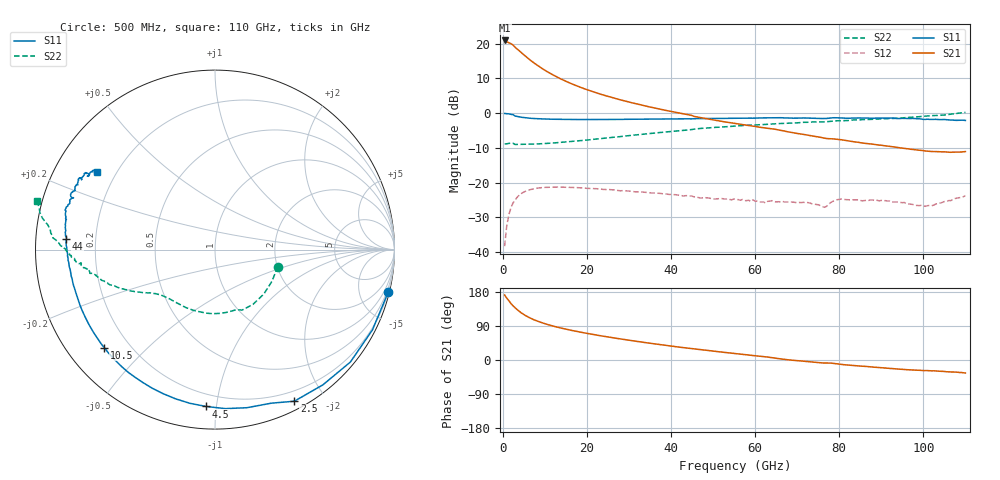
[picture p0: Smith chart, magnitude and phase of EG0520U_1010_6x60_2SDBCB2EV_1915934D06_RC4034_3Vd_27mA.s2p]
!File name = EG0520U_1010_6x60_2SDBCB2EV_1915934D06_RC4034_3Vd_27mA.s2p
!Base file name = EG0520U_1010_6x60_2SDBCB2EV_1915934D06_RC4034
!Date = 8/23/2019
!Time = 12:57 PM
!Test duration(min) = 0.15
!Test = S-Parameters
!MPTS version = 8.91.5
!State File = C:\Data\PNA\20190821205423\S-Parameters_2019-08-23.sta
!Cal File =
!ComputerName = CMPE-LAB-6
!Comments =
!Attenuation = 0
!Z0 = 50
!Input Power(dBm) = -13.00
!Device ID = EG0520U_1010_6x60_2SDBCB2EV
!Row = 40
!Column = 34
!Technology = QPHT09
!Lot/Wafer = 1915934D06
!Gate Size = 360
!Mask = EG0520
!Cal Standards = GaAs BCB
!Cal Kit = EG2306
!Job Number = 20190821205423
!Device Type = FET
!set_Vg(v) = -1.500
!set_Vd(v) = 3.000
!set_Vd(mA) = 27.000
!file_name = EG0520U_1010_6x60_2SDBCB2EV_1915934D06_RC4034_3Vd_27mA.s2p
!Vd(V) = 3.000
!Vd(mA) = 27.062
!Vg(V) = -0.573
!Vg(mA) = -0.003
# GHz  S  DB  R  50
!%	Freq(GHz)  s11(dB)  s11(deg)  s21(dB)  s21(deg)  s12(dB)  s12(deg)  s22(dB)  s22(deg)
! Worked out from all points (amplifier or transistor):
!   220 points, 500 MHz to 110 GHz, reference 50 ohm
!   highest |S21| = 20.9 dB at 500 MHz (marker M1)
!   |S21| within 3 dB of that: start of sweep to 4.002 GHz
!   unconditionally stable (mu >= 1): 35.13 GHz to 102.9 GHz
!   at 18.5 GHz: K = 0.50, MSG = 14.5 dB, |S12| = -21.4 dB
!   at 55.5 GHz: K = 1.46, MAG = 6.9 dB, |S12| = -24.8 dB
!   at 110 GHz: K = -1.45, MSG = 6.3 dB, |S12| = -23.7 dB
!   S11 on the Smith chart (normalised r, x): 500 MHz: 0.21, -8.36; 2.5 GHz: 0.09, -1.65; 4.5 GHz: 0.13, -0.94; 10.5 GHz: 0.11, -0.37; 44 GHz: 0.09, +0.03; 110 GHz: 0.13, +0.29
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0.5  -0.05 -13.6  20.95 171.6  -38.26 81.4  -8.82 -15.1
1  -0.13 -27.0  20.60 163.3  -32.46 74.3  -8.80 -29.0
1.5  -0.17 -39.7  20.29 156.6  -29.26 67.3  -8.69 -42.3
2  -0.32 -51.4  20.03 149.2  -27.21 60.6  -8.61 -55.3
2.5  -0.41 -62.4  19.64 143.0  -25.80 54.9  -8.65 -65.8
3  -0.81 -69.9  18.98 137.8  -24.95 50.6  -8.99 -70.3
3.5  -0.93 -78.6  18.48 132.8  -24.16 46.2  -8.98 -78.4
4.5  -1.16 -93.2  17.41 124.1  -23.09 38.6  -8.94 -92.0
5.5  -1.31 -105.0  16.38 117.0  -22.44 32.8  -8.95 -102.4
7  -1.49 -118.5  14.92 108.4  -21.86 26.0  -8.88 -113.6
8.5  -1.58 -128.4  13.61 101.8  -21.52 21.0  -8.82 -121.0
10.5  -1.68 -138.5  12.05 94.3  -21.32 15.7  -8.69 -128.4
14  -1.77 -150.6  9.80 84.1  -21.27 9.2  -8.37 -136.2
19  -1.81 -161.3  7.25 72.5  -21.49 3.2  -7.82 -142.4
27  -1.78 -171.5  4.18 57.3  -22.12 -2.2  -6.83 -148.2
37  -1.68 -179.6  1.29 41.2  -23.02 -5.0  -5.60 -154.0
44  -1.60 176.1  -0.40 31.1  -23.68 -5.3  -4.82 -158.2
55.5  -1.46 169.4  -2.98 16.8  -24.82 -5.0  -3.66 -165.0
73.5  -1.43 160.5  -6.51 -5.3  -26.05 -8.6  -2.50 -173.3
92  -1.41 152.1  -9.53 -22.2  -25.24 -19.2  -1.52 179.5
100.5  -1.77 149.9  -10.87 -28.0  -26.78 -17.6  -0.84 175.3
110  -2.07 146.9  -11.03 -34.3  -23.72 -17.1  0.26 164.6
